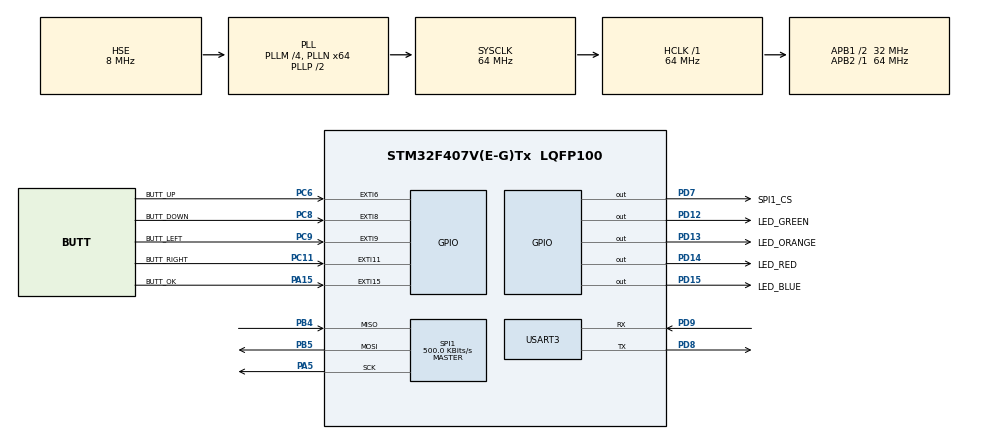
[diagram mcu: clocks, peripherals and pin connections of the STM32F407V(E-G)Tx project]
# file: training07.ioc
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Dma.Request0=USART3_RX
Dma.USART3_RX.0.Direction=DMA_PERIPH_TO_MEMORY
Dma.USART3_RX.0.FIFOMode=DMA_FIFOMODE_DISABLE
Dma.USART3_RX.0.Instance=DMA1_Stream1
Dma.USART3_RX.0.MemDataAlignment=DMA_MDATAALIGN_BYTE
Dma.USART3_RX.0.MemInc=DMA_MINC_ENABLE
Dma.USART3_RX.0.Mode=DMA_CIRCULAR
Dma.USART3_RX.0.PeriphDataAlignment=DMA_PDATAALIGN_BYTE
Dma.USART3_RX.0.PeriphInc=DMA_PINC_DISABLE
Dma.USART3_RX.0.Priority=DMA_PRIORITY_LOW
Mcu.Family=STM32F4
Mcu.Name=STM32F407V(E-G)Tx
Mcu.Package=LQFP100
Mcu.UserConstants=TIM4_PRESCALER,8;PWM_PERIOD,100;TIM10_PRESCALER,64000
NVIC.DMA1_Stream1_IRQn=true\:0\:0\:false\:false\:true\:false\:true
NVIC.EXTI15_10_IRQn=true\:0\:0\:false\:false\:true\:true\:true
NVIC.EXTI9_5_IRQn=true\:0\:0\:false\:false\:true\:true\:true
NVIC.PriorityGroup=NVIC_PRIORITYGROUP_4
PA15.GPIO_Label=BUTT_OK
PA15.GPIO_ModeDefaultEXTI=GPIO_MODE_IT_FALLING
PA15.GPIO_PuPd=GPIO_NOPULL
PA15.Signal=GPXTI15
PA5.GPIO_PuPd=GPIO_PULLDOWN
PA5.Mode=Full_Duplex_Master
PA5.Signal=SPI1_SCK
PB4.Mode=Full_Duplex_Master
PB4.Signal=SPI1_MISO
PB5.Mode=Full_Duplex_Master
PB5.Signal=SPI1_MOSI
PC11.GPIO_Label=BUTT_RIGHT
PC11.GPIO_ModeDefaultEXTI=GPIO_MODE_IT_FALLING
PC11.GPIO_PuPd=GPIO_NOPULL
PC11.Signal=GPXTI11
PC6.GPIO_Label=BUTT_UP
PC6.GPIO_ModeDefaultEXTI=GPIO_MODE_IT_FALLING
PC6.GPIO_PuPd=GPIO_NOPULL
PC6.Signal=GPXTI6
PC8.GPIO_Label=BUTT_DOWN
PC8.GPIO_ModeDefaultEXTI=GPIO_MODE_IT_FALLING
PC8.GPIO_PuPd=GPIO_NOPULL
PC8.Signal=GPXTI8
PC9.GPIO_Label=BUTT_LEFT
PC9.GPIO_ModeDefaultEXTI=GPIO_MODE_IT_FALLING
PC9.GPIO_PuPd=GPIO_NOPULL
PC9.Signal=GPXTI9
PD12.GPIO_Label=LED_GREEN
PD12.Signal=GPIO_Output
PD13.GPIO_Label=LED_ORANGE
PD13.Signal=GPIO_Output
PD14.GPIO_Label=LED_RED
PD14.Signal=GPIO_Output
PD15.GPIO_Label=LED_BLUE
PD15.Signal=GPIO_Output
PD7.GPIO_Label=SPI1_CS
PD7.GPIO_PuPd=GPIO_PULLUP
PD7.PinState=GPIO_PIN_SET
PD7.Signal=GPIO_Output
PD8.Mode=Asynchronous
PD8.Signal=USART3_TX
PD9.Mode=Asynchronous
PD9.Signal=USART3_RX
PH0-OSC_IN.Mode=HSE-External-Oscillator
PH0-OSC_IN.Signal=RCC_OSC_IN
PH1-OSC_OUT.Mode=HSE-External-Oscillator
PH1-OSC_OUT.Signal=RCC_OSC_OUT
ProjectManager.HeapSize=0x200
ProjectManager.StackSize=0x400
ProjectManager.TargetToolchain=STM32CubeIDE
RCC.48MHZClocksFreq_Value=32000000
RCC.AHBFreq_Value=64000000
RCC.APB1CLKDivider=RCC_HCLK_DIV2
RCC.APB1Freq_Value=32000000
RCC.APB1TimFreq_Value=64000000
RCC.APB2Freq_Value=64000000
RCC.APB2TimFreq_Value=64000000
RCC.CortexFreq_Value=64000000
RCC.HCLKFreq_Value=64000000
RCC.HSE_VALUE=8000000
RCC.HSI_VALUE=16000000
RCC.LSE_VALUE=32768
RCC.PLLM=4
RCC.PLLN=64
RCC.PLLSourceVirtual=RCC_PLLSOURCE_HSE
RCC.SYSCLKFreq_VALUE=64000000
RCC.SYSCLKSource=RCC_SYSCLKSOURCE_PLLCLK
RCC.VCOOutputFreq_Value=128000000
SPI1.BaudRatePrescaler=SPI_BAUDRATEPRESCALER_128
SPI1.CalculateBaudRate=500.0 KBits/s
SPI1.Direction=SPI_DIRECTION_2LINES
SPI1.Mode=SPI_MODE_MASTER
SPI1.VirtualType=VM_MASTER
USART3.VirtualMode=VM_ASYNC
board=custom

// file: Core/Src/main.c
/* USER CODE BEGIN Header */
/**
  ******************************************************************************
  * @file           : main.c
  * @brief          : Main program body
  ******************************************************************************
  * @attention
  *
  * <h2><center>&copy; Copyright (c) 2021 STMicroelectronics.
  * All rights reserved.</center></h2>
  *
  * This software component is licensed by ST under BSD 3-Clause license,
  * the "License"; You may not use this file except in compliance with the
  * License. You may obtain a copy of the License at:
  *                        opensource.org/licenses/BSD-3-Clause
  *
  ******************************************************************************
  */
/* USER CODE END Header */
#include "main.h"

/* USER CODE BEGIN Includes */
#include <stdio.h>
#include <string.h>
#include <ctype.h>
/* USER CODE END Includes */

/* USER CODE BEGIN PD */
#define TRUE 1
#define FALSE 0

#define READ_CHIP 0x03
#define SECTOR_4KB_ERASE 0x20
#define CHIP_ERASE 0x60
#define BYTE_PROGRAM 0x02
#define AAI_WORD_PROGRAM 0xad
#define READ_STATUS_REG 0x05
#define EN_WR_STATUS_REG 0x50
#define WRITE_STATUS_REG 0x01
#define WRITE_ENABLE 0x06
#define WRIGHT_DISABLE 0x04
#define READ_ID 0x90
#define EBSY 0x70					//Enable SO to output RY/BY# status during AAI programming
#define DBSY 0x80					//Disable SO to output RY/BY# status during AAI programming

#define START_ADDRESS 0x00
#define SECTOR_MAX_ADDRESS 0x1ff
#define SECTOR_DATA_MAX_ADDRESS 0xfff

#define TX_UART_BUF_SIZE 64
#define RX_UART_BUF_SIZE 5012
#define UART_TIMEOUT 10

#define DEL_SYMBOL 0x7f 			//127 - ascii code for del symbol (work as backspase as well)

#define TX_SPI_BUF_SIZE 8
#define RX_SPI_BUF_SIZE 4096
#define SPI_TIMEOT 100

#define BYTES_IN_SECTOR 4096		//
#define EMPTY_BYTE 0xff
#define ENABLE_WRITE_TO_CHIP 0
#define NUMBER_OF_END_SYMBOLS 3		// will be added in the end of each line: \n\r\0 - 3 symbols

/* USER CODE END PD */

/* USER CODE BEGIN PM */
#define BIT_IS_SET(var, bit) ((var) & (1<<(bit)))
/* USER CODE END PM */

SPI_HandleTypeDef hspi1;

UART_HandleTypeDef huart3;
DMA_HandleTypeDef hdma_usart3_rx;

/* USER CODE BEGIN PV */
char reciveUARTbuf[RX_UART_BUF_SIZE] = {0};
char receiveUARTchar;
char transmitUARTbuf[TX_UART_BUF_SIZE] = {0};

char *rxUARTbuffPtr = reciveUARTbuf;

uint8_t txSPIbuffer[TX_SPI_BUF_SIZE] = {0};
uint8_t rxSPIbuffer[RX_SPI_BUF_SIZE] = {0};

_Bool statusReading = FALSE;
_Bool action = FALSE;
volatile _Bool terminated = FALSE;
volatile _Bool busy = FALSE;

const char errorMessage[] = "\r\n>>! Wrong command or format. Format: [read/write/erase] [line/all/TimeCapsule] [0-511] [<text> (max 4092 symbols)] !<<\r\n";

const char *time_capsule[] = {
		"From: Yuriy Krutchenko, yuriy.elius@gmail.com\r",
		"Mentor: Denys Kondratenko, denys.kondratenko@globallogic.com\r",
		"Date: 26.11.2021\r",
		"TIME CAPSULE\r",
		">>> Richard Dawkins <<<\r",
		"We are going to die, and that makes us the lucky ones\r",
		"Most people are never going to die because they are never going to be born\r",
		"The potential people who could have been here in my place\r",
		"But who will in fact never see the light of day outnumber the sand grains of Sahara\r",
		"Certainly those unborn ghosts include greater poets than Keats, scientists greater than Newton\r",
		"We know this because the set of possible people allowed by our DNA\r",
		"So massively exceeds the set of actual people\r",
		"In the teeth of those stupefying odds it is you and I, in our ordinariness, that are here\r",
		"We privileged few, who won the lottery of birth against all odds\r",
		"How dare we whine at our inevitable return to that prior state\r",
		"From which the vast majority have never stirred?\r",
		"There is grandeur in this view of life, with its several powers\r",
		"Having been originally breathed into a few forms or into one\r",
		"And that whilst this planet has gone cycling on according to the fixed law of gravity\r",
		"From so simple a beginning endless forms most beautiful and most wonderful have been\r",
		"And are being, evolved.\r"
};

uint16_t sizeOfTimeCapsule = (sizeof(time_capsule)/sizeof(time_capsule[0]));

enum{
	READ,
	WRITE,
	ERASE
}commands;

enum{
	NONE = 0,
	ERASE_WHOLE_CHIP = 1,
	ERASE_SECTOR = 2,
	ERASE_TIME_CAPSULE
}confirmations;

uint8_t confirmation = NONE;
/* USER CODE END PV */

void SystemClock_Config(void);
static void MX_GPIO_Init(void);
static void MX_DMA_Init(void);
static void MX_USART3_UART_Init(void);
static void MX_SPI1_Init(void);
/* USER CODE BEGIN PFP */
//void flashSPI_RxTx_DMA(uint8_t *tx, uint8_t *rx, uint16_t size);
void flashSPI_RxTx_Blocking(uint8_t *tx, uint8_t *rx, uint16_t size);
void flashSPI_Rx_Blocking(uint8_t *rx, uint16_t size);
void flashSPI_Tx_Blocking(uint8_t *tx, uint16_t size);
void flashSPI_Rx_Tx_Blocking(uint8_t *tx, uint8_t *rx, uint16_t tx_size, uint16_t rx_size);
uint8_t flashReadStatus(void);
void flashWriteStatus(uint8_t command);
void flashWriteByte(uint16_t sector_addr, int16_t byte_addr, uint8_t byte);
void flashChipErase(void);
void flashChipEraseSector(uint16_t sector_addr);
void flashReadData(uint16_t sector_addr_from, uint16_t sector_addr_to, int16_t byte_addr, uint16_t size, _Bool isEmptyCheck);
int flashWriteDataToSector(uint16_t sector_addr, int16_t byte_addr, const char* data);
void flashReadTimeCapsule(void);
void flashWriteTimeCapsule(void);
void flashEraseTimeCapsule(void);
_Bool flashIsSectorEmpty(uint16_t sector_addr);
_Bool flashIsBusy(void);
void flashConfirmationProcessing(char* ptr, uint16_t sectorAddress);

/* USER CODE END PFP */

/* USER CODE BEGIN 0 */

int _write(int file, char* ptr, int len) {
	strncpy(transmitUARTbuf, ptr, len);
	HAL_UART_Transmit(&huart3, (uint8_t*)transmitUARTbuf, len, UART_TIMEOUT);
	return len;
}

/* @brief function for send one char via uart
 * @param *buf pointer to (char) value
 * @retval None
 * */
void printChar(char* buf){
	HAL_UART_Transmit(&huart3, (uint8_t*)buf, 1, UART_TIMEOUT);
}

void HAL_GPIO_EXTI_Callback(uint16_t GPIO_Pin) {
	if(confirmation) confirmation = NONE;

	if (busy == TRUE){
		terminated = TRUE;
		return;
	}

	switch (GPIO_Pin) {
	case BUTT_UP_Pin:
		flashChipErase();
		break;
	case BUTT_DOWN_Pin:
		flashReadTimeCapsule();
		break;
	case BUTT_LEFT_Pin:

		break;
	case BUTT_RIGHT_Pin:
		break;
	case BUTT_OK_Pin:
		flashWriteTimeCapsule();
		break;
	}
}

void HAL_UART_RxCpltCallback (UART_HandleTypeDef * huart){
	if (busy == TRUE){
		terminated = TRUE;
		return;
	}

	if (receiveUARTchar == '\r') {
		*rxUARTbuffPtr = '\r';
		rxUARTbuffPtr = reciveUARTbuf;
		action = TRUE;
		return;
	}

	if ((receiveUARTchar == DEL_SYMBOL) && (rxUARTbuffPtr > reciveUARTbuf)){
		rxUARTbuffPtr--;
		printChar(&receiveUARTchar);
		return;
	}

	if (rxUARTbuffPtr < (reciveUARTbuf + RX_UART_BUF_SIZE)){
		*rxUARTbuffPtr = receiveUARTchar;
		rxUARTbuffPtr++;
		printChar(&receiveUARTchar);
	}
	else {
		rxUARTbuffPtr = reciveUARTbuf;
		printf("\r\n--! The command is too long, try again !--\r\n");
	}
}

void flashSPI_Tx_Blocking(uint8_t *tx, uint16_t size){
	HAL_GPIO_WritePin(GPIOD, SPI1_CS_Pin, FALSE);
	HAL_SPI_Transmit(&hspi1, tx, size, SPI_TIMEOT);
	HAL_GPIO_WritePin(GPIOD, SPI1_CS_Pin, TRUE);
}

void flashSPI_Rx_Tx_Blocking(uint8_t *tx, uint8_t *rx, uint16_t tx_size, uint16_t rx_size){
	HAL_GPIO_WritePin(GPIOD, SPI1_CS_Pin, FALSE);
	HAL_SPI_Transmit(&hspi1, tx, tx_size, SPI_TIMEOT);
	HAL_SPI_Receive(&hspi1, rx, rx_size, SPI_TIMEOT);
	HAL_GPIO_WritePin(GPIOD, SPI1_CS_Pin, TRUE);
}

uint8_t flashReadStatus(void){
	txSPIbuffer[0] = READ_STATUS_REG;
	flashSPI_Rx_Tx_Blocking(txSPIbuffer, rxSPIbuffer, 1, 2);
	return rxSPIbuffer[0];
}

_Bool flashIsBusy(void){
	return BIT_IS_SET(flashReadStatus(), 0);
}

void flashWriteStatus(uint8_t command){
	txSPIbuffer[0] = EN_WR_STATUS_REG;
	flashSPI_Tx_Blocking(txSPIbuffer, 1);
	txSPIbuffer[0] = WRITE_STATUS_REG;
	txSPIbuffer[1] = command;
	flashSPI_Tx_Blocking(txSPIbuffer, 2);
}

void flashReadData(uint16_t sector_addr_from, uint16_t sector_addr_to, int16_t byte_addr, uint16_t rx_size, _Bool isEmptyCheck){
	uint16_t sector_addr_curr = sector_addr_from;

	if (flashIsBusy()){
		printf("\r\n>>! Error. Devise is busy !<<\r\n");
		return;
	}
	if (sector_addr_to > SECTOR_MAX_ADDRESS){
		printf("\r\n>>! Error. The end of memory !<<\r\n");
		return;
	}

	busy = TRUE;

	while(sector_addr_curr <= sector_addr_to){
		if (terminated) {
			terminated = FALSE;
			printf("\r\n>>! Reading has been terminated by user! !<<\r\n");
			busy = FALSE;
			return;
		}
		txSPIbuffer[0] = READ_CHIP;
		txSPIbuffer[1] = (uint8_t)(sector_addr_curr >> 4);
		txSPIbuffer[2] = (uint8_t)((sector_addr_curr << 4) | (byte_addr >> 8));
		txSPIbuffer[3] = (uint8_t)byte_addr;

		flashSPI_Rx_Tx_Blocking(txSPIbuffer, rxSPIbuffer, 4, rx_size);

		if(isEmptyCheck) {											//checking if it was only "if sector empty" call - always single cycle needs
			busy = FALSE;
			return;
		}

		printf("Line %d: ", sector_addr_curr);						//let's name it for user "line" instead of "sector", that's more convenient ;)
		sector_addr_curr++;

		if (rxSPIbuffer[0] == EMPTY_BYTE){
			printf("empty\r\n");
			continue;
		}
		else{
			printf("%s", (rxSPIbuffer));
		}
	}
	busy = FALSE;
}

void flashWriteByte(uint16_t sector_addr, int16_t byte_addr, uint8_t byte){
	txSPIbuffer[0] = WRITE_ENABLE;
	flashSPI_Tx_Blocking(txSPIbuffer, 1);

	txSPIbuffer[0] = BYTE_PROGRAM;
	txSPIbuffer[1] = (uint8_t)(sector_addr >> 4);
	txSPIbuffer[2] = (uint8_t)((sector_addr << 4) | (byte_addr >> 8));
	txSPIbuffer[3] = (uint8_t)byte_addr;
	txSPIbuffer[4] = byte;
	flashSPI_Tx_Blocking(txSPIbuffer, 5);
}

int flashWriteDataToSector(uint16_t sector_addr, int16_t byte_addr, const char* data){
	uint16_t symbolsCounter = 0;
	const char *endPtr = data + (BYTES_IN_SECTOR - NUMBER_OF_END_SYMBOLS);

	if ((endPtr - data) > (BYTES_IN_SECTOR - NUMBER_OF_END_SYMBOLS)){
		printf("\r\n>>! Error. The data is too long. Maximum data length is 4092 symbols !<<\r\n");
		return -1;
	}

	if (flashIsBusy()){
		printf("\r\n>>!Error. Devise is busy !<<\r\n");
		return -1;
	}

	if (sector_addr > SECTOR_MAX_ADDRESS){
		printf("\r\n>>! Error. The end of memory !<<\r\n");
		return -1;
	}

	if(flashIsSectorEmpty(sector_addr)){
		while(data < endPtr && *data != '\r'){
			if (terminated) {
				terminated = FALSE;
				printf("\r\n>>! Writing has been terminated by user! !<<\r\n");
				busy = FALSE;
				return -2;
			}
			flashWriteByte(sector_addr, byte_addr, (uint8_t) *data);
			data++;
			byte_addr++;
			symbolsCounter++;
			}
		flashWriteByte(sector_addr, byte_addr, '\r');
		byte_addr++;
		flashWriteByte(sector_addr, byte_addr, '\n');
		byte_addr++;
		flashWriteByte(sector_addr, byte_addr, '\0');

		printf("Line %d has been written with %d printable symbols\r\n", sector_addr, symbolsCounter);
	}
	else {
		printf(">>! Write procedure was terminated at line %d! Line is not empty, erase it first !<<\r\n\r\n", sector_addr);
		return -1;
	}
	return 0;
}

void flashChipErase(void){
	txSPIbuffer[0] = WRITE_ENABLE;
	flashSPI_Tx_Blocking(txSPIbuffer, 1);

	txSPIbuffer[0] = CHIP_ERASE;
	flashSPI_Tx_Blocking(txSPIbuffer, 1);
	printf("\r\nErasing whole chip\r\n");
}

void flashChipEraseSector(uint16_t sector_addr){
	txSPIbuffer[0] = WRITE_ENABLE;
	flashSPI_Tx_Blocking(txSPIbuffer, 1);

	txSPIbuffer[0] = SECTOR_4KB_ERASE;
	txSPIbuffer[1] = (uint8_t)(sector_addr >> 4);
	txSPIbuffer[2] = (uint8_t)(sector_addr << 4);
	txSPIbuffer[3] = 0;
	flashSPI_Tx_Blocking(txSPIbuffer, 4);
	printf("Erasing line: %d\r\n", sector_addr);
}

_Bool flashIsSectorEmpty(uint16_t sector_addr){
	flashReadData(sector_addr, sector_addr, START_ADDRESS, 5, TRUE);
	if (rxSPIbuffer[0] == EMPTY_BYTE) return TRUE;
	else return FALSE;
}

void flashWriteTimeCapsule(void){
	printf("\r\nWriting the Time Capsule data\r\n");
	busy = TRUE;
	for(uint16_t i = 0; i < sizeOfTimeCapsule; i++){
		int8_t status;
		status = flashWriteDataToSector(i, START_ADDRESS, time_capsule[i]);
		if (status < 0) {
			busy = FALSE;
			return;
		}
	}
	busy = FALSE;
	printf("......Done!\r\n\r\n");
}

void flashReadTimeCapsule(void){
	printf("\r\nReading Time Capsule data\r\n");
	flashReadData(0, (sizeOfTimeCapsule-1), 0, 100, FALSE);
	printf("......Done!\r\n\r\n");
}

void flashEraseTimeCapsule(void){
	printf("\r\nErasing Time Capsule data\r\n");
	for (uint8_t i = START_ADDRESS; i < sizeOfTimeCapsule; i++){
		if (flashIsBusy()){
			printf("\r\n>>!Error. Devise is busy !<<\r\n");
			return;
		}
		flashChipEraseSector(START_ADDRESS + i);
		HAL_Delay(50);
	}
	printf("......Done!\r\n\r\n");
}

void flashConfirmationProcessing(char* ptr, uint16_t sectorAddress){
	if (strncmp(ptr, "y\r", strlen("y\r")) == 0) {
		if (confirmation == ERASE_WHOLE_CHIP){
			flashChipErase();
			return;
		}
		else if (confirmation == ERASE_SECTOR){
			printf("\r\n");
			flashChipEraseSector(sectorAddress);
			return;
		}
		else if (confirmation == ERASE_TIME_CAPSULE){
			flashEraseTimeCapsule();
			return;
		}
	}
	else if (strncmp(ptr, "n\r", strlen("n\r")) == 0) {
		printf("\r\nErasing has been canceled\r\n");
		return;
	}
	else {
		printf("\r\nWrong confirmation input\r\n");
		return;
	}
}

void parseNewCommandAndData(void){
	static uint16_t sectorNumFrom = 0;
//	uint16_t sectorNumTo = 0;
	char *ptr = reciveUARTbuf;
	uint8_t command = 0;

	if (confirmation){
		flashConfirmationProcessing(ptr, sectorNumFrom);
		confirmation = NONE;
		return;
	}

	sectorNumFrom = START_ADDRESS;

	if (strncmp(ptr, "read ", strlen("read ")) == 0) {
		command = READ;
		ptr += strlen("read ");
	}
	else if (strncmp(ptr, "write ", strlen("write ")) == 0) {
		command = WRITE;
		ptr += strlen("write ");
	}
	else if (strncmp(ptr, "erase ", strlen("erase ")) == 0) {
		command = ERASE;
		ptr += strlen("erase ");
	}
	else {
		printf(errorMessage);
		return;
	}

	if (strncmp(ptr, "all\r", strlen("all\r")) == 0) {
		if (command == READ){
			flashReadData(0, SECTOR_MAX_ADDRESS, START_ADDRESS, BYTES_IN_SECTOR, FALSE);
			return;
		}
		else if (command == WRITE) {
			printf("\r\n>>! Wrong command. Specify line number to write !<<\r\n");
			return;
		}
		else if (command == ERASE){
			printf("\r\n>>??? Are you sure? Whole data will be lost. (y/n): ");
			fflush(stdout);
			confirmation = ERASE_WHOLE_CHIP;
			return;
			}
	}
	else if (strncmp(ptr, "TimeCapsule\r", strlen("TimeCapsule\r")) == 0) {
		if (command == READ){
			flashReadTimeCapsule();
			return;
		}
		else if (command == WRITE){
			flashWriteTimeCapsule();
			return;
		}
		else if (command == ERASE){
			printf("\r\n>>??? Are you sure? Whole Time Capsule data will be lost. (y/n): ");
			fflush(stdout);
			confirmation = ERASE_TIME_CAPSULE;
			return;
		}
	}
	else if (strncmp(ptr, "line ", strlen("line ")) == 0) {
		ptr += strlen("line ");
	}
	else {
		printf(errorMessage);
		return;
	}

	if(*ptr >= '0' && *ptr <= '9') {
		sectorNumFrom = (uint8_t)(*ptr - '0');
		ptr++;
	}
	if(*ptr >= '0' && *ptr <= '9') {
		sectorNumFrom *= 10;
		sectorNumFrom += (uint8_t)(*ptr - '0');
		ptr++;
	}
	if(*ptr >= '0' && *ptr <= '9') {
		sectorNumFrom *= 10;
		sectorNumFrom += (uint8_t)(*ptr - '0');
		ptr++;
	}
	if (*ptr == '\r'){
		if (sectorNumFrom <= SECTOR_MAX_ADDRESS){
			if (command == READ){
				printf("\r\n");
				flashReadData(sectorNumFrom, sectorNumFrom, START_ADDRESS, BYTES_IN_SECTOR, FALSE);
				return;
			}
			else if (command == WRITE){
				printf("\r\n>>! Error! No data to write !<<\r\n");
				return;
			}
			else if (command == ERASE){
				printf("\r\n>>??? Are you sure? Data in line %d will be lost. (y/n): ", sectorNumFrom);
				fflush(stdout);
				confirmation = ERASE_SECTOR;
				return;
			}
		}
		else {
			printf("\r\n>>! Error! Incorrect line number. Number should be 0 to 511 !<<\r\n");
			return;
		}
	}
	else if(*ptr == ' '){
		ptr++;
		printf("\r\n");
		if (command == WRITE){
			flashWriteDataToSector(sectorNumFrom, START_ADDRESS, ptr);
		return;
		}
	}
	printf(errorMessage);
}

/* USER CODE END 0 */

int main(void)
{

  /* MCU Configuration--------------------------------------------------------*/

  /* Reset of all peripherals, Initializes the Flash interface and the Systick. */
  HAL_Init();

  /* Configure the system clock */
  SystemClock_Config();

  /* Initialize all configured peripherals */
  MX_GPIO_Init();
  MX_DMA_Init();
  MX_USART3_UART_Init();
  MX_SPI1_Init();
  /* USER CODE BEGIN 2 */
  UART_Start_Receive_DMA (&huart3,(uint8_t*)&receiveUARTchar, 1);

  flashWriteStatus(ENABLE_WRITE_TO_CHIP);

  printf("\r\n- To execute command via console use following format:\r\n"
		 "- [read/write/erase] [line/all/TimeCapsule] [0-511] [<text> (max 4092 symbols)]\r\n"
		 "- Examples: \"read line 20\", \"write line 70 Hello, world!\", \"erase all\",\r\n"
		 "-           \"erase line 100\", \"read/write/erase TimeCapsule\"\r\n"
		 "- CATION: the \"read all\" command will execute reading of WHOLE chip memory and will take a while\r\n"
		 "- To terminate any long operation press any key or button on board\r\n"
		 "- - - - - - - - - - - - - - - - - - - - - - - - -\r\n"
		 "- To read Time Capsule via board buttons: press <DOWN> button\r\n"
		 "- To erase whole flash memory via board buttons: press <CENTER/OK> button\r\n"
		 "- To write Time Capsule via board buttons: press <CENTER/OK> button\r\n"
		 "\r\n");
/*		  	 "- placeholder -\r\n"
		  	 "- placeholder -\r\n");*/
  /* USER CODE END 2 */

  /* Infinite loop */
  /* USER CODE BEGIN WHILE */
  while (1)
  {
	  if (action){
		  parseNewCommandAndData();

		  action = FALSE;
	  }
/*	  flashReadStatus();

	  HAL_Delay(1000);*/

    /* USER CODE END WHILE */

  }
}

void SystemClock_Config(void)
{
  RCC_OscInitTypeDef RCC_OscInitStruct = {0};
  RCC_ClkInitTypeDef RCC_ClkInitStruct = {0};

  /** Configure the main internal regulator output voltage
  */
  __HAL_RCC_PWR_CLK_ENABLE();
  __HAL_PWR_VOLTAGESCALING_CONFIG(PWR_REGULATOR_VOLTAGE_SCALE1);
  /** Initializes the RCC Oscillators according to the specified parameters
  * in the RCC_OscInitTypeDef structure.
  */
  RCC_OscInitStruct.OscillatorType = RCC_OSCILLATORTYPE_HSE;
  RCC_OscInitStruct.HSEState = RCC_HSE_ON;
  RCC_OscInitStruct.PLL.PLLState = RCC_PLL_ON;
  RCC_OscInitStruct.PLL.PLLSource = RCC_PLLSOURCE_HSE;
  RCC_OscInitStruct.PLL.PLLM = 4;
  RCC_OscInitStruct.PLL.PLLN = 64;
  RCC_OscInitStruct.PLL.PLLP = RCC_PLLP_DIV2;
  RCC_OscInitStruct.PLL.PLLQ = 4;
  if (HAL_RCC_OscConfig(&RCC_OscInitStruct) != HAL_OK)
  {
    Error_Handler();
  }
  /** Initializes the CPU, AHB and APB buses clocks
  */
  RCC_ClkInitStruct.ClockType = RCC_CLOCKTYPE_HCLK|RCC_CLOCKTYPE_SYSCLK
                              |RCC_CLOCKTYPE_PCLK1|RCC_CLOCKTYPE_PCLK2;
  RCC_ClkInitStruct.SYSCLKSource = RCC_SYSCLKSOURCE_PLLCLK;
  RCC_ClkInitStruct.AHBCLKDivider = RCC_SYSCLK_DIV1;
  RCC_ClkInitStruct.APB1CLKDivider = RCC_HCLK_DIV2;
  RCC_ClkInitStruct.APB2CLKDivider = RCC_HCLK_DIV1;

  if (HAL_RCC_ClockConfig(&RCC_ClkInitStruct, FLASH_LATENCY_2) != HAL_OK)
  {
    Error_Handler();
  }
}

static void MX_SPI1_Init(void)
{

  /* SPI1 parameter configuration*/
  hspi1.Instance = SPI1;
  hspi1.Init.Mode = SPI_MODE_MASTER;
  hspi1.Init.Direction = SPI_DIRECTION_2LINES;
  hspi1.Init.DataSize = SPI_DATASIZE_8BIT;
  hspi1.Init.CLKPolarity = SPI_POLARITY_LOW;
  hspi1.Init.CLKPhase = SPI_PHASE_1EDGE;
  hspi1.Init.NSS = SPI_NSS_SOFT;
  hspi1.Init.BaudRatePrescaler = SPI_BAUDRATEPRESCALER_128;
  hspi1.Init.FirstBit = SPI_FIRSTBIT_MSB;
  hspi1.Init.TIMode = SPI_TIMODE_DISABLE;
  hspi1.Init.CRCCalculation = SPI_CRCCALCULATION_DISABLE;
  hspi1.Init.CRCPolynomial = 10;
  if (HAL_SPI_Init(&hspi1) != HAL_OK)
  {
    Error_Handler();
  }

}

static void MX_USART3_UART_Init(void)
{

  huart3.Instance = USART3;
  huart3.Init.BaudRate = 115200;
  huart3.Init.WordLength = UART_WORDLENGTH_8B;
  huart3.Init.StopBits = UART_STOPBITS_1;
  huart3.Init.Parity = UART_PARITY_NONE;
  huart3.Init.Mode = UART_MODE_TX_RX;
  huart3.Init.HwFlowCtl = UART_HWCONTROL_NONE;
  huart3.Init.OverSampling = UART_OVERSAMPLING_16;
  if (HAL_UART_Init(&huart3) != HAL_OK)
  {
    Error_Handler();
  }

}

static void MX_DMA_Init(void)
{

  /* DMA controller clock enable */
  __HAL_RCC_DMA1_CLK_ENABLE();

  /* DMA interrupt init */
  /* DMA1_Stream1_IRQn interrupt configuration */
  HAL_NVIC_SetPriority(DMA1_Stream1_IRQn, 0, 0);
  HAL_NVIC_EnableIRQ(DMA1_Stream1_IRQn);

}

static void MX_GPIO_Init(void)
{
  GPIO_InitTypeDef GPIO_InitStruct = {0};

  /* GPIO Ports Clock Enable */
  __HAL_RCC_GPIOH_CLK_ENABLE();
  __HAL_RCC_GPIOA_CLK_ENABLE();
  __HAL_RCC_GPIOD_CLK_ENABLE();
  __HAL_RCC_GPIOC_CLK_ENABLE();
  __HAL_RCC_GPIOB_CLK_ENABLE();

  /*Configure GPIO pin Output Level */
  HAL_GPIO_WritePin(GPIOD, LED_GREEN_Pin|LED_ORANGE_Pin|LED_RED_Pin|LED_BLUE_Pin, GPIO_PIN_RESET);

  /*Configure GPIO pin Output Level */
  HAL_GPIO_WritePin(SPI1_CS_GPIO_Port, SPI1_CS_Pin, GPIO_PIN_SET);

  /*Configure GPIO pins : LED_GREEN_Pin LED_ORANGE_Pin LED_RED_Pin LED_BLUE_Pin */
  GPIO_InitStruct.Pin = LED_GREEN_Pin|LED_ORANGE_Pin|LED_RED_Pin|LED_BLUE_Pin;
  GPIO_InitStruct.Mode = GPIO_MODE_OUTPUT_PP;
  GPIO_InitStruct.Pull = GPIO_NOPULL;
  GPIO_InitStruct.Speed = GPIO_SPEED_FREQ_LOW;
  HAL_GPIO_Init(GPIOD, &GPIO_InitStruct);

  /*Configure GPIO pins : BUTT_UP_Pin BUTT_DOWN_Pin BUTT_LEFT_Pin BUTT_RIGHT_Pin */
  GPIO_InitStruct.Pin = BUTT_UP_Pin|BUTT_DOWN_Pin|BUTT_LEFT_Pin|BUTT_RIGHT_Pin;
  GPIO_InitStruct.Mode = GPIO_MODE_IT_FALLING;
  GPIO_InitStruct.Pull = GPIO_NOPULL;
  HAL_GPIO_Init(GPIOC, &GPIO_InitStruct);

  /*Configure GPIO pin : BUTT_OK_Pin */
  GPIO_InitStruct.Pin = BUTT_OK_Pin;
  GPIO_InitStruct.Mode = GPIO_MODE_IT_FALLING;
  GPIO_InitStruct.Pull = GPIO_NOPULL;
  HAL_GPIO_Init(BUTT_OK_GPIO_Port, &GPIO_InitStruct);

  /*Configure GPIO pin : SPI1_CS_Pin */
  GPIO_InitStruct.Pin = SPI1_CS_Pin;
  GPIO_InitStruct.Mode = GPIO_MODE_OUTPUT_PP;
  GPIO_InitStruct.Pull = GPIO_PULLUP;
  GPIO_InitStruct.Speed = GPIO_SPEED_FREQ_LOW;
  HAL_GPIO_Init(SPI1_CS_GPIO_Port, &GPIO_InitStruct);

  /* EXTI interrupt init*/
  HAL_NVIC_SetPriority(EXTI9_5_IRQn, 0, 0);
  HAL_NVIC_EnableIRQ(EXTI9_5_IRQn);

  HAL_NVIC_SetPriority(EXTI15_10_IRQn, 0, 0);
  HAL_NVIC_EnableIRQ(EXTI15_10_IRQn);

}

void Error_Handler(void)
{
  __disable_irq();
  while (1)
  {
  }
}

/************************ (C) COPYRIGHT STMicroelectronics *****END OF FILE****/
